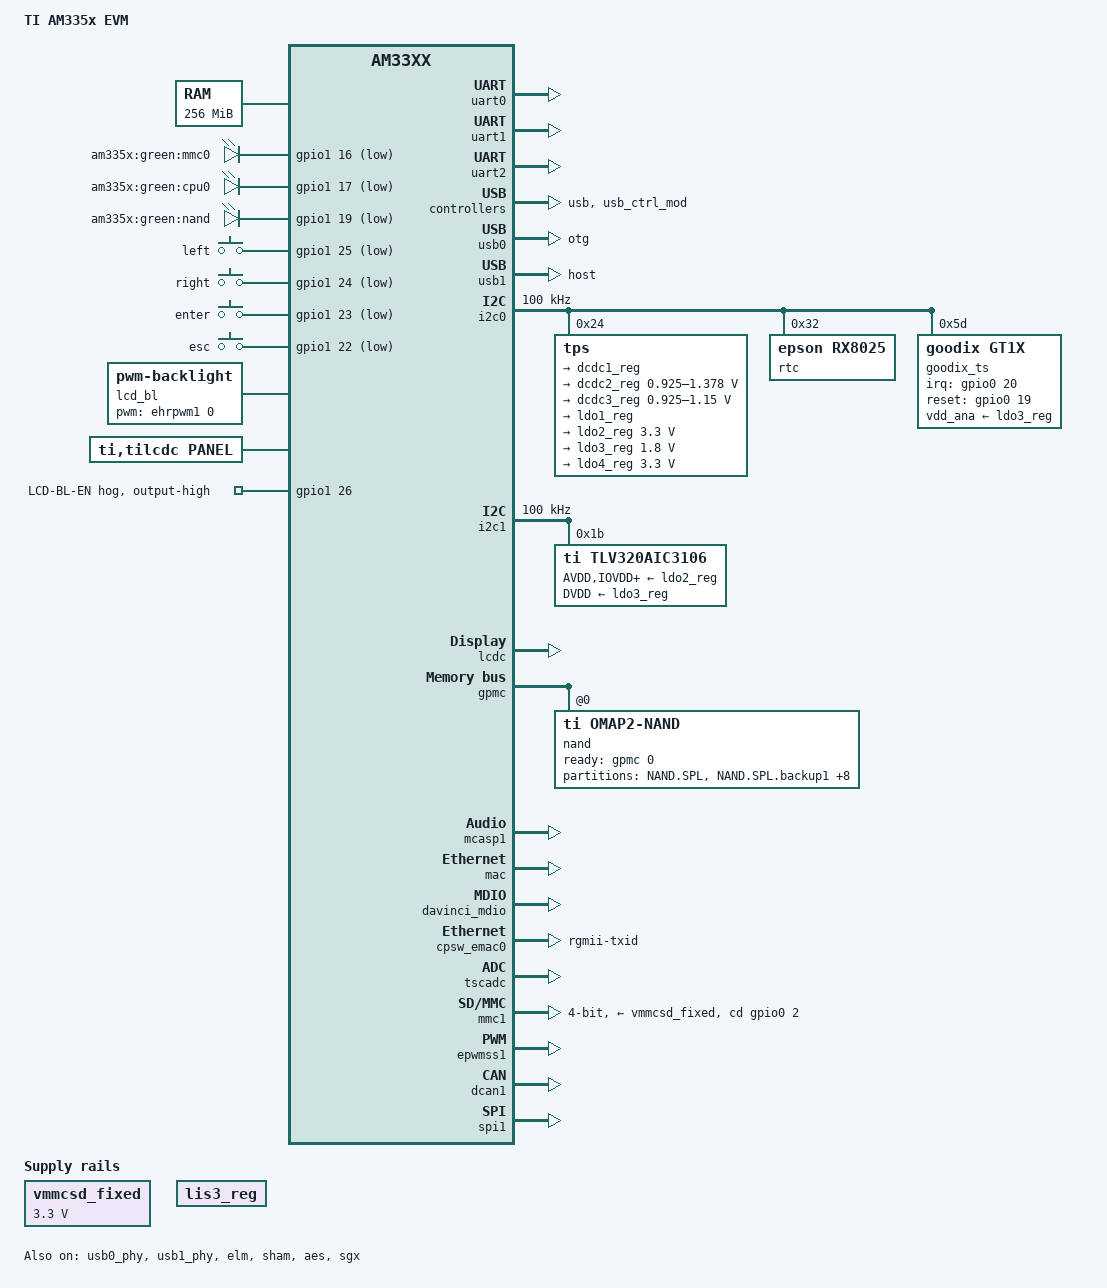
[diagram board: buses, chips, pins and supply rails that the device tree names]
/*
 * Copyright (C) 2012 Texas Instruments Incorporated - http://www.ti.com/
 *
 * This program is free software; you can redistribute it and/or modify
 * it under the terms of the GNU General Public License version 2 as
 * published by the Free Software Foundation.
 */
/dts-v1/;

#include "am33xx.dtsi"
#include <dt-bindings/interrupt-controller/irq.h>

/ {
	model = "TI AM335x EVM";
	compatible = "ti,am335x-evm", "ti,am33xx";

	cpus {
		cpu@0 {				
			cpu0-supply = <&dcdc2_reg>;
		};
	};

	memory {
		device_type = "memory";
		reg = <0x80000000 0x10000000>; /* 256 MB */
	};

	vmmcsd_fixed: fixedregulator@0 {
		compatible = "regulator-fixed";
		regulator-name = "vmmcsd_fixed";
		regulator-min-microvolt = <3300000>;
		regulator-max-microvolt = <3300000>;
	};

	lis3_reg: fixedregulator@1 {
		compatible = "regulator-fixed";
		regulator-name = "lis3_reg";
		regulator-boot-on;
	};

	leds {
		pinctrl-names = "default";
		pinctrl-0 = <&user_leds_s0>;

		compatible = "gpio-leds";
		
		led1 {
			label = "am335x:green:mmc0";
			gpios = <&gpio1 16 GPIO_ACTIVE_LOW>;
			linux,default-trigger = "mmc0";
			default-state = "off";
		};

		led2 {
			label = "am335x:green:cpu0";
			gpios = <&gpio1 17 GPIO_ACTIVE_LOW>;
			linux,default-trigger = "cpu0";
			default-state = "on";
		};
		led3 {
			label = "am335x:green:nand";
			gpios = <&gpio1 19 GPIO_ACTIVE_LOW>;
			linux,default-trigger = "mtd";
			default-state = "off";
		};

	};
	gpio_keypad: gpio_keyad@0{
	    compatible = "gpio-keys";
	    #address-cells = <1>;
	    #size-cells = <0>;
	    autorepeat;
	    pinctrl-names = "default";
		switch@1 {
			label = "left";
			linux,code = <105>;
			gpios = <&gpio1 25 GPIO_ACTIVE_LOW>;
			debounce-interval = <100>;
			gpio-key,wakeup;
		};
	
		switch@2 {
			label = "right";
			linux,code = <106>;
			gpios = <&gpio1 24 GPIO_ACTIVE_LOW>;
			debounce-interval = <100>;
			gpio-key,wakeup;
		};
	
		switch@3 {
			label = "enter";
			linux,code = <28>;
			gpios = <&gpio1 23 GPIO_ACTIVE_LOW>;
			debounce-interval = <100>;
			gpio-key,wakeup;
		};
	
		switch@4 {
			label = "esc";
			linux,code = <1>;
			gpios = <&gpio1 22 GPIO_ACTIVE_LOW>;
			debounce-interval = <100>;
			gpio-key,wakeup;
		};
	}; 
	lcd_bl:backlight {
		compatible = "pwm-backlight";
		pwms = <&ehrpwm1 0 50000 0>;
		brightness-levels = <0 51 53 56 62 75 101 152 255>;
		default-brightness-level = <4>;
	};

	panel {
		compatible = "ti,tilcdc,panel";
		status = "okay";

		panel-info {
			ac-bias           = <255>;
			ac-bias-intrpt    = <0>;
			dma-burst-sz      = <16>;
			bpp               = <16>; 
			fdd               = <0x80>;
			sync-edge         = <0>;
			sync-ctrl         = <1>;
			raster-order      = <1>;
			fifo-th           = <0>;
			
			/*tft-alt-mode;*/ 
		};

		display-timings {
		timing0: 4.3_480x272 {
			clock-frequency = <9200000>;
			hactive = <480>;
			vactive = <272>;
			hfront-porch = <8>;
			hback-porch = <4>;
			hsync-len = <41>;
			vback-porch = <2>;
			vfront-porch = <4>;
			vsync-len = <10>;

			hsync-active = <1>;
			vsync-active = <1>;
			de-active = <1>;
			pixelclk-active = <1>;
			}; 			
		};
	};

	kim {
		compatible = "kim";
		nshutdown_gpio = <117>; /* Bank3, pin21 */
		dev_name = "/dev/ttyS1";
		flow_cntrl = <1>;
		baud_rate = <3000000>;
	};

	btwilink {
		compatible = "btwilink";
	};

	sound {
		compatible = "ti,da830-evm-audio";
		ti,model = "AM335x-EVM";
		ti,audio-codec = <&tlv320aic3106>;
		ti,mcasp-controller = <&mcasp1>;		
		ti,codec-clock-rate = <12000000>;
		ti,audio-routing =
			"LINE2L",    "Mic Bias",
			"Mic Bias",  "Mic Jack",
			"Headphone Jack",       "HPLOUT",
			"Headphone Jack",       "HPROUT",
			"LINE1L",               "Line In",
			"LINE1R",               "Line In";
	};
	
};

&am33xx_pinmux {
	pinctrl-names = "default";

	user_leds_s0: user_leds_s0 {
		 pinctrl-single,pins = <
			 0x40(PIN_OUTPUT_PULLUP | MUX_MODE7) /* (R13) gpmc_a0.gpio1[16] */
			 0x44(PIN_OUTPUT_PULLUP | MUX_MODE7) /* (V14) gpmc_a1.gpio1[17] */
			 0x4c(PIN_OUTPUT_PULLUP | MUX_MODE7) /* (T14) gpmc_a3.gpio1[19] */
			 0x54(PIN_OUTPUT_PULLUP | MUX_MODE7) /* (V15) gpmc_a5.gpio1[21] */
		>;
	};
	gpio_key_pins: gpio_keys_s0 {
                   pinctrl-single,pins = <
	                 0x58 (PIN_INPUT | MUX_MODE7) /* gpmc_a6.gpio1_22 */
        	         0x5C (PIN_INPUT | MUX_MODE7) /* gpmc_a7.gpio1_23 */
                	 0x60 (PIN_INPUT | MUX_MODE7) /* gpmc_a8.gpio1_24 */
	                 0x64 (PIN_INPUT | MUX_MODE7) /* gpmc_a9.gpio1_25 */
             >;
         };
	
	i2c0_pins: pinmux_i2c0_pins {
		pinctrl-single,pins = <
			0x188 (PIN_INPUT_PULLUP | MUX_MODE0)	/* i2c0_sda.i2c0_sda */
			0x18c (PIN_INPUT_PULLUP | MUX_MODE0)	/* i2c0_scl.i2c0_scl */
		>;
	};
	gt5668_pins: gt5668_pins {
                 pinctrl-single,pins = <
			0x1b0( PIN_OUTPUT | MUX_MODE7) /* (A15) xdma_event_intr0.gpio0[19]  */
			0x1b4( PIN_INPUT | MUX_MODE7) /* (D14) xdma_event_intr1.gpio0[20] */
                 >;
         };
	lcd_bl_pins: lcd_bl_pins {
                 pinctrl-single,pins = <
                       0x068(PIN_OUTPUT  | MUX_MODE7)/* (T16) gpmc_a10.gpio1[26] */
                 >;
         };
	ehrpwm1_pins: backlight_pins {
		pinctrl-single,pins = <
			0x048( PIN_OUTPUT | MUX_MODE6) /* (U14) gpmc_a2.ehrpwm1A */
		>;
	};
	i2c1_pins_default: pinmux_i2c1_pins {
		pinctrl-single,pins = <
			0x158 (PIN_INPUT_PULLUP | MUX_MODE2)	/* spi0_d1.i2c1_sda */
			0x15c (PIN_INPUT_PULLUP | MUX_MODE2)	/* spi0_cs0.i2c1_scl */
		>;
	};	

	uart0_pins: pinmux_uart0_pins {
		pinctrl-single,pins = <
			0x170 (PIN_INPUT_PULLUP | MUX_MODE0)	/* uart0_rxd.uart0_rxd */
			0x174 (PIN_OUTPUT_PULLDOWN | MUX_MODE0)	/* uart0_txd.uart0_txd */
		>;
	};

	uart1_pins_default: pinmux_uart1_pins_default {
		pinctrl-single,pins = <
			0x180 (PIN_INPUT_PULLUP | MUX_MODE0)	        /* D15: uart1_rxd.uart1_rxd */
			0x184 (PIN_OUTPUT_PULLDOWN | MUX_MODE0) 	    /* D16: uart1_txd.uart1_txd */
		>;
	};

	uart1_pins_sleep: pinmux_uart1_pins_sleep {
		pinctrl-single,pins = <
			/*0x178 (PIN_INPUT_PULLDOWN | MUX_MODE7) */
			/*0x17C (PIN_INPUT_PULLDOWN | MUX_MODE7) */
			0x180 (PIN_INPUT_PULLDOWN | MUX_MODE7)
			0x184 (PIN_INPUT_PULLDOWN | MUX_MODE7)
		>;
	};

	uart2_pins_default: pinmux_uart2_pins_default {
		pinctrl-single,pins = <
			0x10C (PIN_INPUT_PULLUP | MUX_MODE6)	    /* H17: MII1_CRS.uart2_rxd */
			0x110 (PIN_OUTPUT_PULLDOWN | MUX_MODE6) 	/* J15: MII1_RX_ER.uart2_txd */
		>;
	};


	nandflash_pins_default: nandflash_pins_default {
		pinctrl-single,pins = <
			0x0 (PIN_INPUT_PULLUP | MUX_MODE0)	/* gpmc_ad0.gpmc_ad0 */
			0x4 (PIN_INPUT_PULLUP | MUX_MODE0)	/* gpmc_ad1.gpmc_ad1 */
			0x8 (PIN_INPUT_PULLUP | MUX_MODE0)	/* gpmc_ad2.gpmc_ad2 */
			0xc (PIN_INPUT_PULLUP | MUX_MODE0)	/* gpmc_ad3.gpmc_ad3 */
			0x10 (PIN_INPUT_PULLUP | MUX_MODE0)	/* gpmc_ad4.gpmc_ad4 */
			0x14 (PIN_INPUT_PULLUP | MUX_MODE0)	/* gpmc_ad5.gpmc_ad5 */
			0x18 (PIN_INPUT_PULLUP | MUX_MODE0)	/* gpmc_ad6.gpmc_ad6 */
			0x1c (PIN_INPUT_PULLUP | MUX_MODE0)	/* gpmc_ad7.gpmc_ad7 */
			0x70 (PIN_INPUT_PULLUP | MUX_MODE0)	/* gpmc_wait0.gpmc_wait0 */
			0x74 (PIN_INPUT_PULLUP | MUX_MODE7)	/* gpmc_wpn.gpio0_30 */
			0x7c (PIN_OUTPUT | MUX_MODE0)		/* gpmc_csn0.gpmc_csn0  */
			0x90 (PIN_OUTPUT | MUX_MODE0)		/* gpmc_advn_ale.gpmc_advn_ale */
			0x94 (PIN_OUTPUT | MUX_MODE0)		/* gpmc_oen_ren.gpmc_oen_ren */
			0x98 (PIN_OUTPUT | MUX_MODE0)		/* gpmc_wen.gpmc_wen */
			0x9c (PIN_OUTPUT | MUX_MODE0)		/* gpmc_be0n_cle.gpmc_be0n_cle */
		>;
	};

	nandflash_pins_sleep: nandflash_pins_sleep {
		pinctrl-single,pins = <
			0x0 (PIN_INPUT_PULLDOWN | MUX_MODE7)
			0x4 (PIN_INPUT_PULLDOWN | MUX_MODE7)
			0x8 (PIN_INPUT_PULLDOWN | MUX_MODE7)
			0xc (PIN_INPUT_PULLDOWN | MUX_MODE7)
			0x10 (PIN_INPUT_PULLDOWN | MUX_MODE7)
			0x14 (PIN_INPUT_PULLDOWN | MUX_MODE7)
			0x18 (PIN_INPUT_PULLDOWN | MUX_MODE7)
			0x1c (PIN_INPUT_PULLDOWN | MUX_MODE7)
			0x70 (PIN_INPUT_PULLDOWN | MUX_MODE7)
			0x74 (PIN_INPUT_PULLDOWN | MUX_MODE7)
			0x7c (PIN_INPUT_PULLDOWN | MUX_MODE7)
			0x90 (PIN_INPUT_PULLDOWN | MUX_MODE7)
			0x94 (PIN_INPUT_PULLDOWN | MUX_MODE7)
			0x98 (PIN_INPUT_PULLDOWN | MUX_MODE7)
			0x9c (PIN_INPUT_PULLDOWN | MUX_MODE7)
		>;
	};

	cpsw_default: cpsw_default {
		pinctrl-single,pins = <
			/* Slave 1 */
			0x114 (PIN_OUTPUT_PULLDOWN | MUX_MODE2)	/* mii1_txen.rgmii1_tctl */
			0x118 (PIN_INPUT_PULLDOWN | MUX_MODE2)	/* mii1_rxdv.rgmii1_rctl */
			0x11c (PIN_OUTPUT_PULLDOWN | MUX_MODE2)	/* mii1_txd3.rgmii1_td3 */
			0x120 (PIN_OUTPUT_PULLDOWN | MUX_MODE2)	/* mii1_txd2.rgmii1_td2 */
			0x124 (PIN_OUTPUT_PULLDOWN | MUX_MODE2)	/* mii1_txd1.rgmii1_td1 */
			0x128 (PIN_OUTPUT_PULLDOWN | MUX_MODE2)	/* mii1_txd0.rgmii1_td0 */
			0x12c (PIN_OUTPUT_PULLDOWN | MUX_MODE2)	/* mii1_txclk.rgmii1_tclk */
			0x130 (PIN_INPUT_PULLDOWN | MUX_MODE2)	/* mii1_rxclk.rgmii1_rclk */
			0x134 (PIN_INPUT_PULLDOWN | MUX_MODE2)	/* mii1_rxd3.rgmii1_rd3 */
			0x138 (PIN_INPUT_PULLDOWN | MUX_MODE2)	/* mii1_rxd2.rgmii1_rd2 */
			0x13c (PIN_INPUT_PULLDOWN | MUX_MODE2)	/* mii1_rxd1.rgmii1_rd1 */
			0x140 (PIN_INPUT_PULLDOWN | MUX_MODE2)	/* mii1_rxd0.rgmii1_rd0 */
		>;
	};

	cpsw_sleep: cpsw_sleep {
		pinctrl-single,pins = <
			/* Slave 1 reset value */
			0x114 (PIN_INPUT_PULLDOWN | MUX_MODE7)
			0x118 (PIN_INPUT_PULLDOWN | MUX_MODE7)
			0x11c (PIN_INPUT_PULLDOWN | MUX_MODE7)
			0x120 (PIN_INPUT_PULLDOWN | MUX_MODE7)
			0x124 (PIN_INPUT_PULLDOWN | MUX_MODE7)
			0x128 (PIN_INPUT_PULLDOWN | MUX_MODE7)
			0x12c (PIN_INPUT_PULLDOWN | MUX_MODE7)
			0x130 (PIN_INPUT_PULLDOWN | MUX_MODE7)
			0x134 (PIN_INPUT_PULLDOWN | MUX_MODE7)
			0x138 (PIN_INPUT_PULLDOWN | MUX_MODE7)
			0x13c (PIN_INPUT_PULLDOWN | MUX_MODE7)
			0x140 (PIN_INPUT_PULLDOWN | MUX_MODE7)
		>;
	};

	davinci_mdio_default: davinci_mdio_default {
		pinctrl-single,pins = <
			/* MDIO */
			0x148 (PIN_INPUT_PULLUP | SLEWCTRL_FAST | MUX_MODE0)	/* mdio_data.mdio_data */
			0x14c (PIN_OUTPUT_PULLUP | MUX_MODE0)			/* mdio_clk.mdio_clk */
		>;
	};

	davinci_mdio_sleep: davinci_mdio_sleep {
		pinctrl-single,pins = <
			/* MDIO reset value */
			0x148 (PIN_INPUT_PULLDOWN | MUX_MODE7)
			0x14c (PIN_INPUT_PULLDOWN | MUX_MODE7)
		>;
	};

	mmc1_pins_default: pinmux_mmc1_pins {
		pinctrl-single,pins = <
			0x0F0 (PIN_INPUT_PULLUP | MUX_MODE0)    /* mmc0_dat3.mmc0_dat3 */
			0x0F4 (PIN_INPUT_PULLUP | MUX_MODE0)    /* mmc0_dat2.mmc0_dat2 */
			0x0F8 (PIN_INPUT_PULLUP | MUX_MODE0)    /* mmc0_dat1.mmc0_dat1 */
			0x0FC (PIN_INPUT_PULLUP | MUX_MODE0)    /* mmc0_dat0.mmc0_dat0 */
			0x100 (PIN_INPUT_PULLUP | MUX_MODE0)    /* mmc0_clk.mmc0_clk */
			0x104 (PIN_INPUT_PULLUP | MUX_MODE0)    /* mmc0_cmd.mmc0_cmd */			
			0x150 (PIN_INPUT_PULLUP | MUX_MODE7)        /* spio_sclk.gpio0_2 */
			0x154 (PIN_INPUT_PULLUP | MUX_MODE7)        /* spio_d0.gpio0_3 */		
		>;
	};

	mmc1_pins_sleep: pinmux_mmc1_pins_sleep {
		pinctrl-single,pins = <
			0x0F0 (PIN_INPUT_PULLDOWN | MUX_MODE7)
			0x0F4 (PIN_INPUT_PULLDOWN | MUX_MODE7)
			0x0F8 (PIN_INPUT_PULLDOWN | MUX_MODE7)
			0x0FC (PIN_INPUT_PULLDOWN | MUX_MODE7)
			0x100 (PIN_INPUT_PULLDOWN | MUX_MODE7)
			0x104 (PIN_INPUT_PULLDOWN | MUX_MODE7)
			0x150 (PIN_INPUT_PULLUP | MUX_MODE7)        /* spio_sclk.gpio0_2 */
			0x154 (PIN_INPUT_PULLUP | MUX_MODE7)        /* spio_d0.gpio0_3 */			
		
		>;
	};


	lcd_pins_default: lcd_pins_default {
		pinctrl-single,pins = <
			0x20 (PIN_OUTPUT | MUX_MODE1)		/* gpmc_ad8.lcd_data23 */
			0x24 (PIN_OUTPUT | MUX_MODE1)		/* gpmc_ad9.lcd_data22 */
			0x28 (PIN_OUTPUT | MUX_MODE1)		/* gpmc_ad10.lcd_data21 */
			0x2c (PIN_OUTPUT | MUX_MODE1)		/* gpmc_ad11.lcd_data20 */
			0x30 (PIN_OUTPUT | MUX_MODE1)		/* gpmc_ad12.lcd_data19 */
			0x34 (PIN_OUTPUT | MUX_MODE1)		/* gpmc_ad13.lcd_data18 */
			0x38 (PIN_OUTPUT | MUX_MODE1)		/* gpmc_ad14.lcd_data17 */
			0x3c (PIN_OUTPUT | MUX_MODE1)		/* gpmc_ad15.lcd_data16 */
			0xa0 (PIN_OUTPUT | MUX_MODE0)		/* lcd_data0.lcd_data0 */
			0xa4 (PIN_OUTPUT | MUX_MODE0)		/* lcd_data1.lcd_data1 */
			0xa8 (PIN_OUTPUT | MUX_MODE0)		/* lcd_data2.lcd_data2 */
			0xac (PIN_OUTPUT | MUX_MODE0)		/* lcd_data3.lcd_data3 */
			0xb0 (PIN_OUTPUT | MUX_MODE0)		/* lcd_data4.lcd_data4 */
			0xb4 (PIN_OUTPUT | MUX_MODE0)		/* lcd_data5.lcd_data5 */
			0xb8 (PIN_OUTPUT | MUX_MODE0)		/* lcd_data6.lcd_data6 */
			0xbc (PIN_OUTPUT | MUX_MODE0)		/* lcd_data7.lcd_data7 */
			0xc0 (PIN_OUTPUT | MUX_MODE0)		/* lcd_data8.lcd_data8 */
			0xc4 (PIN_OUTPUT | MUX_MODE0)		/* lcd_data9.lcd_data9 */
			0xc8 (PIN_OUTPUT | MUX_MODE0)		/* lcd_data10.lcd_data10 */
			0xcc (PIN_OUTPUT | MUX_MODE0)		/* lcd_data11.lcd_data11 */
			0xd0 (PIN_OUTPUT | MUX_MODE0)		/* lcd_data12.lcd_data12 */
			0xd4 (PIN_OUTPUT | MUX_MODE0)		/* lcd_data13.lcd_data13 */
			0xd8 (PIN_OUTPUT | MUX_MODE0)		/* lcd_data14.lcd_data14 */
			0xdc (PIN_OUTPUT | MUX_MODE0)		/* lcd_data15.lcd_data15 */
			0xe0 (PIN_OUTPUT | MUX_MODE0)		/* lcd_vsync.lcd_vsync */
			0xe4 (PIN_OUTPUT | MUX_MODE0)		/* lcd_hsync.lcd_hsync */
			0xe8 (PIN_OUTPUT | MUX_MODE0)		/* lcd_pclk.lcd_pclk */
			0xec (PIN_OUTPUT | MUX_MODE0)		/* lcd_ac_bias_en.lcd_ac_bias_en */
		>;
	};

	lcd_pins_sleep: lcd_pins_sleep {
		pinctrl-single,pins = <
			0x20 (PIN_INPUT_PULLDOWN | MUX_MODE7)	/* gpmc_ad8.lcd_data16 */
			0x24 (PIN_INPUT_PULLDOWN | MUX_MODE7)	/* gpmc_ad9.lcd_data17 */
			0x28 (PIN_INPUT_PULLDOWN | MUX_MODE7)	/* gpmc_ad10.lcd_data18 */
			0x2c (PIN_INPUT_PULLDOWN | MUX_MODE7)	/* gpmc_ad11.lcd_data19 */
			0x30 (PIN_INPUT_PULLDOWN | MUX_MODE7)	/* gpmc_ad12.lcd_data20 */
			0x34 (PIN_INPUT_PULLDOWN | MUX_MODE7)	/* gpmc_ad13.lcd_data21 */
			0x38 (PIN_INPUT_PULLDOWN | MUX_MODE7)	/* gpmc_ad14.lcd_data22 */
			0x3c (PIN_INPUT_PULLDOWN | MUX_MODE7)	/* gpmc_ad15.lcd_data23 */
			0xa0 (PULL_DISABLE | MUX_MODE7)		/* lcd_data0.lcd_data0 */
			0xa4 (PULL_DISABLE | MUX_MODE7)		/* lcd_data1.lcd_data1 */
			0xa8 (PULL_DISABLE | MUX_MODE7)		/* lcd_data2.lcd_data2 */
			0xac (PULL_DISABLE | MUX_MODE7)		/* lcd_data3.lcd_data3 */
			0xb0 (PULL_DISABLE | MUX_MODE7)		/* lcd_data4.lcd_data4 */
			0xb4 (PULL_DISABLE | MUX_MODE7)		/* lcd_data5.lcd_data5 */
			0xb8 (PULL_DISABLE | MUX_MODE7)		/* lcd_data6.lcd_data6 */
			0xbc (PULL_DISABLE | MUX_MODE7)		/* lcd_data7.lcd_data7 */
			0xc0 (PULL_DISABLE | MUX_MODE7)		/* lcd_data8.lcd_data8 */
			0xc4 (PULL_DISABLE | MUX_MODE7)		/* lcd_data9.lcd_data9 */
			0xc8 (PULL_DISABLE | MUX_MODE7)		/* lcd_data10.lcd_data10 */
			0xcc (PULL_DISABLE | MUX_MODE7)		/* lcd_data11.lcd_data11 */
			0xd0 (PULL_DISABLE | MUX_MODE7)		/* lcd_data12.lcd_data12 */
			0xd4 (PULL_DISABLE | MUX_MODE7)		/* lcd_data13.lcd_data13 */
			0xd8 (PULL_DISABLE | MUX_MODE7)		/* lcd_data14.lcd_data14 */
			0xdc (PULL_DISABLE | MUX_MODE7)		/* lcd_data15.lcd_data15 */
			0xe0 (PIN_INPUT_PULLDOWN | MUX_MODE7)	/* lcd_vsync.lcd_vsync, OUTPUT | MODE0 */
			0xe4 (PIN_INPUT_PULLDOWN | MUX_MODE7)	/* lcd_hsync.lcd_hsync */
			0xe8 (PIN_INPUT_PULLDOWN | MUX_MODE7)	/* lcd_pclk.lcd_pclk */
			0xec (PIN_INPUT_PULLDOWN | MUX_MODE7)	/* lcd_ac_bias_en.lcd_ac_bias_en */
		>;
	};



	mcasp1_pins_default: mcasp1_pins_default {
		pinctrl-single,pins = <
			0x1ac (PIN_INPUT_PULLDOWN  | MUX_MODE3) /* (A14) mcasp0_ahclkx.mcasp1_axr1 */	
			0x1a0 (PIN_INPUT_PULLDOWN  | MUX_MODE3) /* (B12) mcasp0_aclkr.mcasp1_aclkx */
			0x1a4 (PIN_INPUT_PULLDOWN  | MUX_MODE3) /* (C13) mcasp0_fsr.mcasp1_fsx */
			0x1a8 (PIN_INPUT_PULLDOWN  | MUX_MODE3) /* (D13) mcasp0_axr1.mcasp1_axr0 */				
		>;
	};

	/* Optional sleep pin settings. Must manually enter values in the below skeleton. */
	mcasp1_pins_sleep: mcasp1_pins_sleep {
		pinctrl-single,pins = <
			0x1ac (PIN_INPUT_PULLDOWN  | MUX_MODE7) /* (A14) mcasp0_ahclkx.mcasp1_axr1 */	
			0x1a0 (PIN_INPUT_PULLDOWN  | MUX_MODE7) /* (B12) mcasp0_aclkr.mcasp1_aclkx */
			0x1a4 (PIN_INPUT_PULLDOWN  | MUX_MODE7) /* (C13) mcasp0_fsr.mcasp1_fsx */
			0x1a8 (PIN_INPUT_PULLDOWN  | MUX_MODE7) /* (D13) mcasp0_axr1.mcasp1_axr0 */		
		>;
	};	

    spi1_pins: pinmux_spi1 {
        pinctrl-single,pins = <
            0x190 (PIN_INPUT_PULLUP  | MUX_MODE3) /* spi1_sclk */
            0x194 (PIN_INPUT_PULLUP  | MUX_MODE3) /* spi1_d0 */
            0x198 (PIN_INPUT_PULLUP  | MUX_MODE3) /* spi1_d1 */
            0x19c (PIN_INPUT_PULLUP  | MUX_MODE3) /* spi1_cs0 */
            0x17C (PIN_INPUT_PULLUP  | MUX_MODE4) /* gpio_cs1 */
        >;
    };
	
	dcan1_pins_default: dcan1_pins_default {
		pinctrl-single,pins = <
			0x168 (PIN_OUTPUT | MUX_MODE2)         /* (E18)  uart0_ctsn.d_can1_tx */
			0x16c (PIN_INPUT_PULLDOWN | MUX_MODE2) /* (E17)  uart0_rtsn.d_can1_rx */
		>;
	};
};

&uart0 {
	pinctrl-names = "default";
	pinctrl-0 = <&uart0_pins>;

	status = "okay";
};


/*uart1作为RS485*/
&uart1 {
	/*pinctrl-names = "default", "sleep";*/
	pinctrl-names = "default";
	pinctrl-0 = <&uart1_pins_default>;
	/*pinctrl-1 = <&uart1_pins_sleep>;*/

	status = "okay";
};

&uart2 {
	pinctrl-names = "default";
	pinctrl-0 = <&uart2_pins_default>;

	status = "okay";
};



&usb {
	status = "okay";
};

&usb_ctrl_mod {
	status = "okay";
};

&usb0_phy {
	status = "okay";
};

&usb1_phy {
	status = "okay";
};

&usb0 {
	status = "okay";
	dr_mode = "otg";
};

&usb1 {
	status = "okay";
	dr_mode = "host";
};

&cppi41dma  {
	status = "okay";
};

&i2c0 {
	pinctrl-names = "default";
	pinctrl-0 = <&i2c0_pins>;
	status = "okay";
	clock-frequency = <100000>;
	tps: tps@24 {
		reg = <0x24>;
	};
	
	rtc@32{
	         compatible = "epson,rx8025";
                 reg = <0x32>;
    	};
	
	goodix_ts@5d {
	         status = "okay";
        	 compatible = "goodix,gt1x";
	         pinctrl-names = "default";
	         pinctrl-0 = <&gt5668_pins>;
	         reg = <0x5d>;
	         interrupt-parent = <&gpio0>;
	         interrupts = <20 IRQ_TYPE_EDGE_FALLING>;
	         vdd_ana-supply = <&ldo3_reg>;
 	         goodix,irq-gpio = <&gpio0 20 0>;
	         goodix,reset-gpio = <&gpio0 19 0>;
	         touchscreen-size-x = <480>;
	         touchscreen-size-y = <272>;

	};
	

};

&i2c1 {
	pinctrl-names = "default";
	pinctrl-0 = <&i2c1_pins_default>;
	status = "okay";
	clock-frequency = <100000>;
	
	tlv320aic3106: tlv320aic3106@1b {
		compatible = "ti,tlv320aic3106";
		reg = <0x1b>;
		status = "okay";

		/* Regulators */
		AVDD-supply = <&ldo2_reg>;
		IOVDD-supply = <&ldo2_reg>;
		DRVDD-supply = <&ldo2_reg>;
		DVDD-supply = <&ldo3_reg>;		
		
		ai3x-micbias-vg = <3>;	
	};

	
};

&lcdc {
	status = "okay";
	pinctrl-names = "default", "sleep";
	pinctrl-0 = <&lcd_pins_default>;
	pinctrl-1 = <&lcd_pins_sleep>;
};

&elm {
	status = "okay";
};
&gpio1 {
         status = "okay";
		 p26 {
                  gpio-hog;
                  gpios = <26 GPIO_ACTIVE_HIGH>;
                  output-high;
                  line-name = "LCD-BL-EN";
             };
 };

&gpmc {
	status = "okay";
	pinctrl-names = "default", "sleep";
	pinctrl-0 = <&nandflash_pins_default>;
	pinctrl-1 = <&nandflash_pins_sleep>;
	ranges = <0 0 0x08000000 0x1000000>;	/* CS0: 16MB for NAND */
	nand@0,0 {
		compatible = "ti,omap2-nand";
		reg = <0 0 4>; /* CS0, offset 0, IO size 4 */
		interrupt-parent = <&intc>;
		interrupts = <100>;
		ready-gpio = <&gpmc 0 GPIO_ACTIVE_HIGH>; /* gpmc_wait0 */
		ti,nand-ecc-opt = "sw";
		ti,elm-id = <&elm>;
		nand-bus-width = <8>;
		gpmc,device-width = <1>;
		gpmc,sync-clk-ps = <0>;
		gpmc,cs-on-ns = <0>;
		gpmc,cs-rd-off-ns = <44>;
		gpmc,cs-wr-off-ns = <44>;
		gpmc,adv-on-ns = <6>;
		gpmc,adv-rd-off-ns = <34>;
		gpmc,adv-wr-off-ns = <44>;
		gpmc,we-on-ns = <0>;
		gpmc,we-off-ns = <40>;
		gpmc,oe-on-ns = <0>;
		gpmc,oe-off-ns = <54>;
		gpmc,access-ns = <64>;
		gpmc,rd-cycle-ns = <82>;
		gpmc,wr-cycle-ns = <82>;
		gpmc,bus-turnaround-ns = <0>;
		gpmc,cycle2cycle-delay-ns = <0>;
		gpmc,clk-activation-ns = <0>;
		gpmc,wr-access-ns = <40>;
		gpmc,wr-data-mux-bus-ns = <0>;
		/* MTD partition table */
		/* All SPL-* partitions are sized to minimal length
		 * which can be independently programmable. For
		 * NAND flash this is equal to size of erase-block */
		#address-cells = <1>;
		#size-cells = <1>;
		partition@0 {
			label = "NAND.SPL";
			reg = <0x00000000 0x000020000>;
		};
		partition@1 {
			label = "NAND.SPL.backup1";
			reg = <0x00020000 0x00020000>;
		};
		partition@2 {
			label = "NAND.SPL.backup2";
			reg = <0x00040000 0x00020000>;
		};
		partition@3 {
			label = "NAND.SPL.backup3";
			reg = <0x00060000 0x00020000>;
		};
		partition@4 {
			label = "NAND.u-boot-spl-os";
			reg = <0x00080000 0x00040000>;
		};
		partition@5 {
			label = "NAND.u-boot";
			reg = <0x000C0000 0x00100000>;
		};
		partition@6 {
			label = "NAND.u-boot-env";
			reg = <0x001C0000 0x00020000>;
		};
		partition@7 {
			label = "NAND.u-boot-env.backup1";
			reg = <0x001E0000 0x00020000>;
		};
		partition@8 {
			label = "NAND.kernel";
			reg = <0x00200000 0x00800000>;
		};
		partition@9 {
			label = "NAND.file-system";
			reg = <0x00A00000 0x1F600000>;  
		};
		

	};
};


#include "tps65217.dtsi"

&tps {
	/*
	 * Configure pmic to enter OFF-state instead of SLEEP-state ("RTC-only
	 * mode") at poweroff.  Most BeagleBone versions do not support RTC-only
	 * mode and risk hardware damage if this mode is entered.
	 *
	 * For details, see linux-omap mailing list May 2015 thread
	 *	[PATCH] ARM: dts: am335x-bone* enable pmic-shutdown-controller
	 * In particular, messages:
	 *	http://www.spinics.net/lists/linux-omap/msg118585.html
	 *	http://www.spinics.net/lists/linux-omap/msg118615.html
	 *
	 * You can override this later with
	 *	&tps {  /delete-property/ ti,pmic-shutdown-controller;  }
	 * if you want to use RTC-only mode and made sure you are not affected
	 * by the hardware problems. (Tip: double-check by performing a current
	 * measurement after shutdown: it should be less than 1 mA.)
	 */
	ti,pmic-shutdown-controller;

	regulators {
		dcdc1_reg: regulator@0 {
			regulator-name = "vdds_ddr";
			regulator-always-on;
		};

		dcdc2_reg: regulator@1 {
			/* VDD_MPU voltage limits 0.95V - 1.325V with +/-4% tolerance */
			regulator-name = "vdd_mpu";
			regulator-min-microvolt = <925000>;
			regulator-max-microvolt = <1378000>;
			regulator-boot-on;
			regulator-always-on;
		};

		dcdc3_reg: regulator@2 {
			/* VDD_CORE voltage limits 0.95V - 1.1V with +/-4% tolerance */
			regulator-name = "vdd_core";
			regulator-min-microvolt = <925000>;
			regulator-max-microvolt = <1150000>;
			regulator-boot-on;
			regulator-always-on;
		};

		ldo1_reg: regulator@3 {
			regulator-name = "vio,vrtc,vdds";
			regulator-boot-on;
			regulator-always-on;
		};

		ldo2_reg: regulator@4 {
			regulator-name = "vdd_3v3aux";
			regulator-min-microvolt = <3300000>;
			regulator-max-microvolt = <3300000>;	
			regulator-boot-on;
			regulator-always-on;
		};

		ldo3_reg: regulator@5 {
			regulator-name = "vdd_1v8";
			regulator-min-microvolt = <1800000>;
			regulator-max-microvolt = <1800000>;
			regulator-boot-on;			
			regulator-always-on;
		};

		ldo4_reg: regulator@6 {
			regulator-name = "vdd_3v3a";
			regulator-min-microvolt = <3300000>;
			regulator-max-microvolt = <3300000>;	
			regulator-boot-on;
			regulator-always-on;
		};
	};
};



&mcasp1 {
		pinctrl-names = "default", "sleep";
		pinctrl-0 = <&mcasp1_pins_default>;

		status = "okay";

		op-mode = <0>;          /* MCASP_IIS_MODE */
		tdm-slots = <2>;
		/* 4 serializers */
		serial-dir = < 
			1 2 0 0 
		>;
		tx-num-evt = <1>;
		rx-num-evt = <1>;		
};


&mac {

	pinctrl-names = "default", "sleep";
	pinctrl-0 = <&cpsw_default>;
	pinctrl-1 = <&cpsw_sleep>;
	status = "okay";
};

&davinci_mdio {
	pinctrl-names = "default", "sleep";
	pinctrl-0 = <&davinci_mdio_default>;
	pinctrl-1 = <&davinci_mdio_sleep>;
	status = "okay";
};

&cpsw_emac0 {
	phy_id = <&davinci_mdio>, <4>;
	phy-mode = "rgmii-txid";
};


&tscadc {
	status = "okay";
	tsc {
		ti,wires = <4>;
		ti,x-plate-resistance = <200>;
		ti,coordinate-readouts = <5>;
		ti,wire-config = <0x00 0x11 0x22 0x33>;
		ti,charge-delay = <0x400>;
	};

	adc {
		ti,adc-channels = <4 5 6 7>;
	};
};

&mmc1 {
	status = "okay";
	vmmc-supply = <&vmmcsd_fixed>;
	bus-width = <4>;
	pinctrl-names = "default", "sleep";
	pinctrl-0 = <&mmc1_pins_default>;
	pinctrl-1 = <&mmc1_pins_sleep>;
	cd-gpios = <&gpio0 2 GPIO_ACTIVE_HIGH>;
};



&epwmss1 {
	status = "okay";

	ehrpwm1: pwm@48302200 {
		status = "okay";
		pinctrl-names = "default";
		pinctrl-0 = <&ehrpwm1_pins>;
	};
};

&sham {
	status = "okay";
};

&aes {
	status = "okay";
};

&dcan1 {
	status = "okay";
	pinctrl-names = "default";
	pinctrl-0 = <&dcan1_pins_default>;
};

&wkup_m3_ipc {
	ti,scale-data-fw = "am335x-evm-scale-data.bin";
};

&rtc {
	system-power-controller;
};

&sgx {
	status = "okay";
};
&spi1 {
    status = "okay";
    pinctrl-names = "default";
    pinctrl-0 = <&spi1_pins>;
    ti,pindir-d0-out-d1-in;
};
